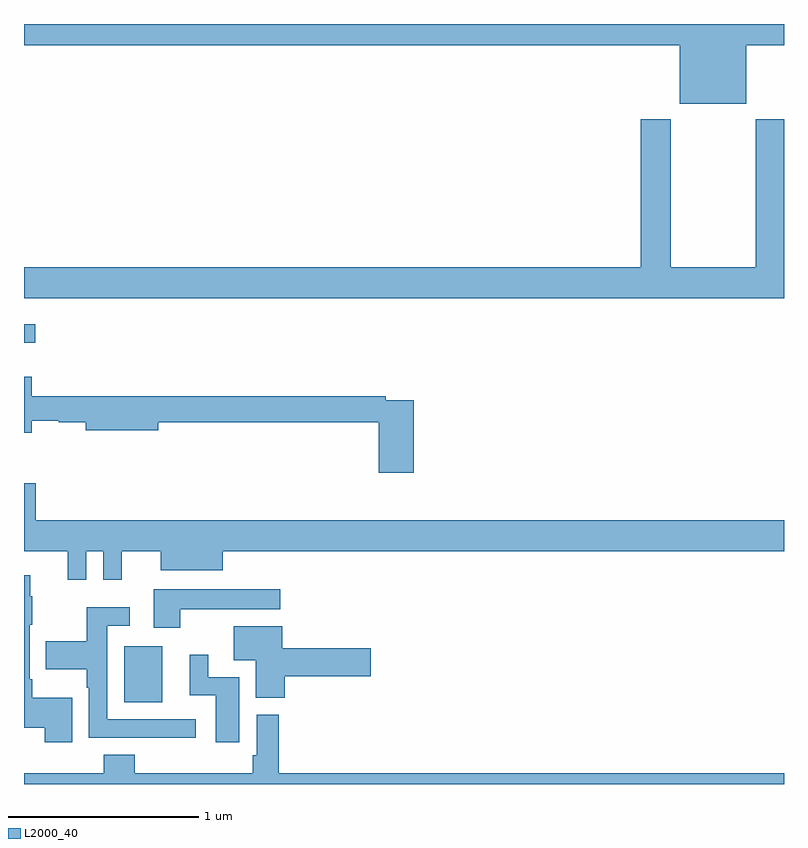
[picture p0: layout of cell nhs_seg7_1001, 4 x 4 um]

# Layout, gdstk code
import gdstk
lib = gdstk.Library(unit=1e-6, precision=1e-09)
def R(c, l, rs):  # rectangles x0, y0, x1, y1
    for r in rs: c.add(gdstk.rectangle(r[:2], r[2:], *l))
def P(c, l, *ps):  # polygons
    for p in ps: c.add(gdstk.Polygon(p, *l))
L2000_40 = (2000, 40)

nhs_seg7_1001 = lib.new_cell('nhs_seg7_1001')
R(nhs_seg7_1001, L2000_40, [(183.527,1058.429,183.727,1058.725), (183,1060.323,183.058,1060.42)])
P(nhs_seg7_1001, L2000_40, [(186.802,1061.888),(187,1061.888),(187,1062),(183,1062),(183,1061.888),(186.452,1061.888),(186.452,1061.579),(186.802,1061.579)],
  [(187,1061.5),(186.85,1061.5),(186.85,1060.72),(186.405,1060.72),(186.405,1061.5),(186.245,1061.5),(186.245,1060.72),(183,1060.72),(183,1060.556),(187,1060.556)],
  [(185.051,1060.02),(184.904,1060.02),(184.904,1060.04),(183.04,1060.04),(183.04,1060.144),(183,1060.144),(183,1059.848),(183.04,1059.848),(183.04,1059.912),(183.183,1059.912),(183.183,1059.904),(183.326,1059.904),(183.326,1059.862),(183.706,1059.862),(183.706,1059.904),(184.868,1059.904),(184.868,1059.639),(185.051,1059.639)],
  [(183.062,1059.583),(183,1059.583),(183,1059.224),(183.23,1059.224),(183.23,1059.075),(183.327,1059.075),(183.327,1059.224),(183.417,1059.224),(183.417,1059.075),(183.515,1059.075),(183.515,1059.224),(183.719,1059.224),(183.719,1059.125),(184.045,1059.125),(184.045,1059.224),(187,1059.224),(187,1059.388),(183.062,1059.388)],
  [(183.253,1058.455),(183.043,1058.455),(183.043,1058.551),(183.03,1058.551),(183.03,1058.839),(183.043,1058.839),(183.043,1058.987),(183.032,1058.987),(183.032,1059.1),(183,1059.1),(183,1058.297),(183.11,1058.297),(183.11,1058.22),(183.253,1058.22)],
  [(183.823,1058.921),(184.348,1058.921),(184.348,1059.025),(183.683,1059.025),(183.683,1058.823),(183.823,1058.823)],
  [(183.904,1058.34),(183.438,1058.34),(183.438,1058.832),(183.556,1058.832),(183.556,1058.929),(183.33,1058.929),(183.33,1058.751),(183.115,1058.751),(183.115,1058.603),(183.33,1058.603),(183.33,1058.507),(183.342,1058.507),(183.342,1058.244),(183.667,1058.244),(183.667,1058.243),(183.904,1058.243)],
  [(184.373,1058.567),(184.825,1058.567),(184.825,1058.714),(184.36,1058.714),(184.36,1058.83),(184.103,1058.83),(184.103,1058.651),(184.22,1058.651),(184.22,1058.454),(184.373,1058.454)],
  [(184.132,1058.562),(183.97,1058.562),(183.97,1058.68),(183.872,1058.68),(183.872,1058.466),(184.01,1058.466),(184.01,1058.22),(184.132,1058.22)],
  [(183.419,1058.155),(183.419,1058.056),(183,1058.056),(183,1058),(187,1058),(187,1058.056),(184.34,1058.056),(184.34,1058.365),(184.224,1058.365),(184.224,1058.152),(184.204,1058.152),(184.204,1058.056),(183.584,1058.056),(183.584,1058.155)])

lib.write_gds('nhs_seg7_1001.gds')
